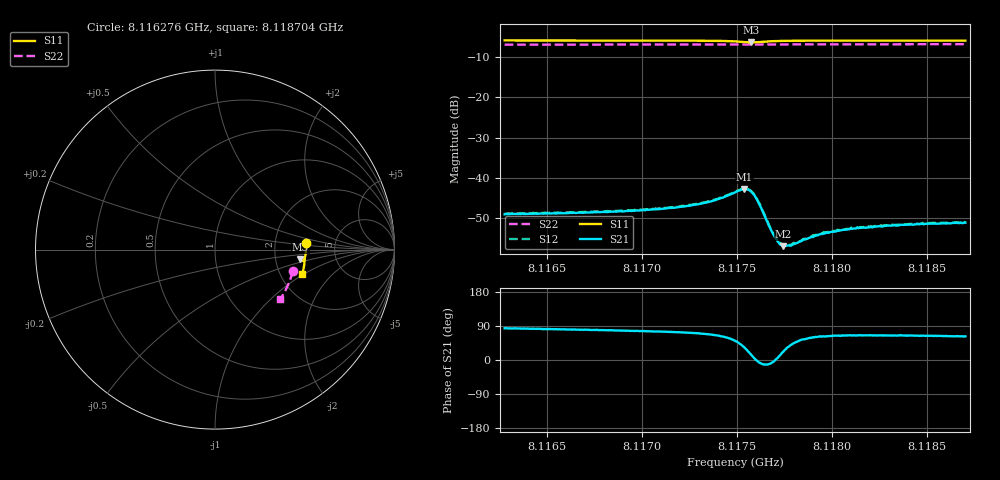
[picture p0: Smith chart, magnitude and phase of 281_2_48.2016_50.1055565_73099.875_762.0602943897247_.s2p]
#  HZ  S  RI  R  50.00
! Rohde & Schwarz Vector Network Analyzer
! Rohde-Schwarz,ZNB20-2Port,1311601062101988,3.16
! Created: UTC 3/20/2024, 11:48:40 AM
! freq[Hz]  re:S11  im:S11  re:S21  im:S21  re:S12  im:S12  re:S22  im:S22
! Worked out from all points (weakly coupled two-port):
!   401 points, 8.116276 GHz to 8.118704 GHz, reference 50 ohm
!   highest |S21| = -42.80 dB at 8.117539 GHz (marker M1); lowest = -56.9 dB at 8.117745 GHz (marker M2)
!   lowest |S11| = -6.4 dB at 8.117575 GHz (marker M3), VSWR 2.84, Z = 139 - j19.3 ohm
!   |S11| at or under -10 dB: nowhere
!   |S22| runs from -7.0 to -6.8 dB; largest |S21 - S12| = 0.0002
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8.1162765e9  0.5056 0.0375  0.000389 0.00352  0.000433 0.00356  0.4327 -0.1204
8.1166831e9  0.5063 0.00663  0.000632 0.00364  0.000706 0.00371  0.4252 -0.1477
8.1170898e9  0.5049 -0.0249  0.00107 0.00396  0.0011 0.00403  0.4162 -0.1746
8.1171869e9  0.5039 -0.0332  0.00122 0.00414  0.0013 0.00416  0.4139 -0.1809
8.1173204e9  0.5016 -0.0451  0.00171 0.00453  0.00179 0.00461  0.4103 -0.1896
8.1174054e9  0.4981 -0.0536  0.00238 0.00494  0.00251 0.00498  0.4078 -0.1951
8.1174904e9  0.4897 -0.0619  0.00422 0.00511  0.0043 0.00518  0.405 -0.2006
8.1175389e9  0.4801 -0.0617  0.00604 0.004  0.0062 0.00399  0.4033 -0.2033
8.1175571e9  0.477 -0.0584  0.00656 0.00291  0.0067 0.00291  0.4028 -0.2045
8.1175753e9  0.4758 -0.0537  0.00655 0.00161  0.00671 0.0016  0.4022 -0.2053
8.1175935e9  0.4774 -0.0493  0.00604 0.000405  0.00614 0.000342  0.4017 -0.206
8.1176117e9  0.4809 -0.0462  0.00506 -0.000381  0.00517 -0.000432  0.4016 -0.207
8.1176785e9  0.4933 -0.0495  0.00227 -0.000368  0.00231 -0.000376  0.4001 -0.2114
8.1177028e9  0.4956 -0.0525  0.00179 3.85e-06  0.00182 -4.64e-05  0.3995 -0.213
8.1177271e9  0.4969 -0.0556  0.00147 0.000312  0.00151 0.000319  0.3988 -0.2146
8.1177453e9  0.4976 -0.0578  0.00132 0.000533  0.00136 0.000512  0.3984 -0.2158
8.1177817e9  0.4985 -0.062  0.00112 0.000906  0.00117 0.000918  0.3972 -0.218
8.117897e9  0.4987 -0.0735  0.000948 0.00159  0.000993 0.00163  0.3936 -0.2254
8.1179698e9  0.498 -0.0799  0.00096 0.00185  0.000967 0.00188  0.3913 -0.2301
8.1180609e9  0.497 -0.0874  0.000991 0.00206  0.001 0.00208  0.388 -0.2357
8.1183036e9  0.4935 -0.1064  0.00109 0.00233  0.00112 0.00237  0.3797 -0.2504
8.1187042e9  0.486 -0.136  0.00129 0.00247  0.00129 0.00249  0.3643 -0.2742
